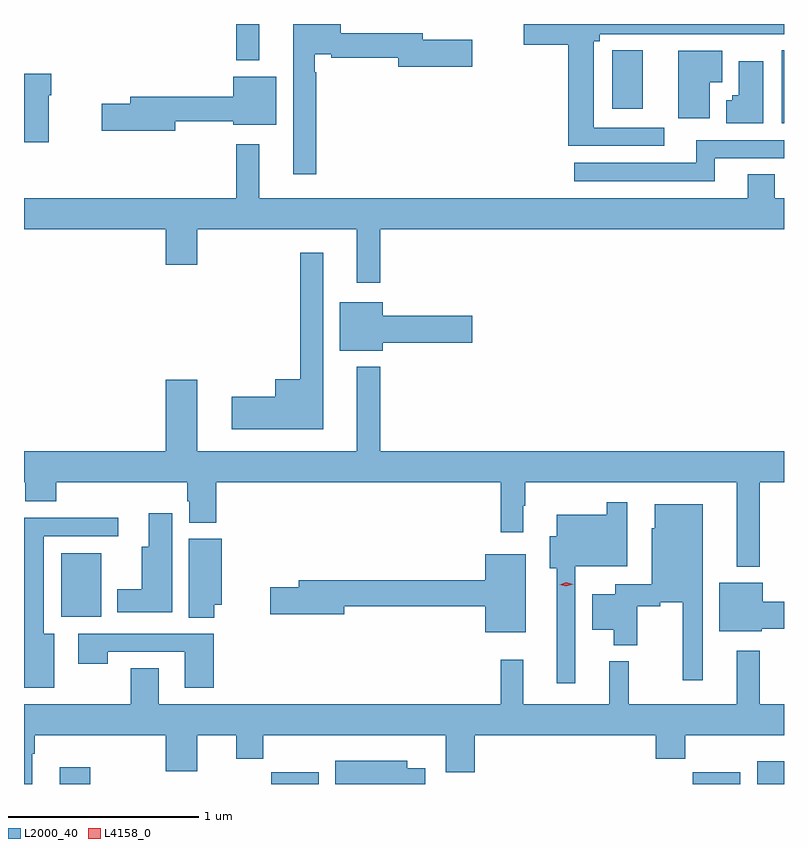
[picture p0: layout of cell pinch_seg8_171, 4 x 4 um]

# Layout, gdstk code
import gdstk
lib = gdstk.Library(unit=1e-6, precision=1e-09)
def R(c, l, rs):  # rectangles x0, y0, x1, y1
    for r in rs: c.add(gdstk.rectangle(r[:2], r[2:], *l))
def P(c, l, *ps):  # polygons
    for p in ps: c.add(gdstk.Polygon(p, *l))
L2000_40 = (2000, 40)
L4158_0 = (4158, 0)

pinch_seg8_171 = lib.new_cell('pinch_seg8_171')
R(pinch_seg8_171, L2000_40, [(667.946,1144.216,668.105,1144.303), (669.058,1144.216,669.307,1144.278), (671.278,1144.216,671.527,1144.278), (671.615,1144.216,671.757,1144.336), (667.952,1145.096,668.164,1145.431), (671.744,1147.694,671.757,1148.078), (670.853,1147.77,671.014,1148.078), (668.874,1148.024,668.995,1148.216)])
P(pinch_seg8_171, L2000_40, [(671.128,1147.671),(670.756,1147.671),(670.756,1148.124),(670.786,1148.124),(670.786,1148.163),(671.757,1148.163),(671.757,1148.216),(670.386,1148.216),(670.386,1148.108),(670.622,1148.108),(670.622,1147.575),(671.128,1147.575)],
  [(669.295,1147.961),(669.287,1147.961),(669.287,1148.058),(669.373,1148.058),(669.373,1148.038),(669.728,1148.038),(669.728,1147.991),(670.117,1147.991),(670.117,1148.133),(669.856,1148.133),(669.856,1148.167),(669.424,1148.167),(669.424,1148.216),(669.173,1148.216),(669.173,1147.425),(669.295,1147.425)],
  [(671.365,1147.909),(671.431,1147.909),(671.431,1148.074),(671.201,1148.074),(671.201,1147.719),(671.365,1147.719)],
  [(671.647,1148.02),(671.519,1148.02),(671.519,1147.842),(671.484,1147.842),(671.484,1147.814),(671.453,1147.814),(671.453,1147.694),(671.647,1147.694)],
  [(667.888,1147.841),(667.901,1147.841),(667.901,1147.954),(667.757,1147.954),(667.757,1147.594),(667.888,1147.594)],
  [(668.554,1147.704),(668.858,1147.704),(668.858,1147.685),(669.085,1147.685),(669.085,1147.939),(668.858,1147.939),(668.858,1147.832),(668.315,1147.832),(668.315,1147.796),(668.166,1147.796),(668.166,1147.654),(668.554,1147.654)],
  [(671.392,1147.509),(671.757,1147.509),(671.757,1147.605),(671.294,1147.605),(671.294,1147.485),(670.653,1147.485),(670.653,1147.389),(671.392,1147.389)],
  [(669.631,1147.136),(671.757,1147.136),(671.757,1147.3),(671.707,1147.3),(671.707,1147.424),(671.567,1147.424),(671.567,1147.3),(668.995,1147.3),(668.995,1147.582),(668.874,1147.582),(668.874,1147.3),(667.757,1147.3),(667.757,1147.136),(668.504,1147.136),(668.504,1146.948),(668.668,1146.948),(668.668,1147.136),(669.509,1147.136),(669.509,1146.855),(669.631,1146.855)],
  [(669.331,1147.012),(669.21,1147.012),(669.21,1146.346),(669.08,1146.346),(669.08,1146.254),(668.85,1146.254),(668.85,1146.083),(669.331,1146.083)],
  [(669.646,1146.539),(670.117,1146.539),(670.117,1146.681),(669.646,1146.681),(669.646,1146.751),(669.419,1146.751),(669.419,1146.497),(669.646,1146.497)],
  [(671.629,1145.804),(671.757,1145.804),(671.757,1145.968),(669.631,1145.968),(669.631,1146.412),(669.509,1146.412),(669.509,1145.968),(668.668,1145.968),(668.668,1146.343),(668.504,1146.343),(668.504,1145.968),(667.757,1145.968),(667.757,1145.804),(667.763,1145.804),(667.763,1145.705),(667.928,1145.705),(667.928,1145.804),(668.615,1145.804),(668.615,1145.703),(668.627,1145.703),(668.627,1145.591),(668.768,1145.591),(668.768,1145.804),(670.267,1145.804),(670.267,1145.541),(670.384,1145.541),(670.384,1145.681),(670.396,1145.681),(670.396,1145.804),(671.507,1145.804),(671.507,1145.36),(671.629,1145.36)],
  [(670.659,1145.363),(670.932,1145.363),(670.932,1145.698),(670.824,1145.698),(670.824,1145.632),(670.562,1145.632),(670.562,1145.521),(670.523,1145.521),(670.523,1145.351),(670.562,1145.351),(670.562,1144.746),(670.659,1144.746)],
  [(671.329,1145.689),(671.078,1145.689),(671.078,1145.562),(671.06,1145.562),(671.06,1145.268),(670.868,1145.268),(670.868,1145.215),(670.748,1145.215),(670.748,1145.027),(670.862,1145.027),(670.862,1144.946),(670.984,1144.946),(670.984,1145.152),(671.105,1145.152),(671.105,1145.172),(671.225,1145.172),(671.225,1144.761),(671.329,1144.761)],
  [(668.536,1145.641),(668.414,1145.641),(668.414,1145.464),(668.378,1145.464),(668.378,1145.242),(668.249,1145.242),(668.249,1145.12),(668.536,1145.12)],
  [(667.915,1145.008),(667.861,1145.008),(667.861,1145.52),(668.254,1145.52),(668.254,1145.618),(667.757,1145.618),(667.757,1144.722),(667.915,1144.722)],
  [(668.758,1145.159),(668.797,1145.159),(668.797,1145.506),(668.624,1145.506),(668.624,1145.092),(668.758,1145.092)],
  [(670.399,1145.425),(670.184,1145.425),(670.184,1145.288),(669.203,1145.288),(669.203,1145.252),(669.054,1145.252),(669.054,1145.11),(669.442,1145.11),(669.442,1145.152),(670.184,1145.152),(670.184,1145.015),(670.399,1145.015)],
  [(671.64,1145.032),(671.757,1145.032),(671.757,1145.174),(671.644,1145.174),(671.644,1145.275),(671.417,1145.275),(671.417,1145.021),(671.64,1145.021)],
  [(668.756,1145.007),(668.043,1145.007),(668.043,1144.848),(668.199,1144.848),(668.199,1144.911),(668.603,1144.911),(668.603,1144.722),(668.756,1144.722)],
  [(667.801,1144.376),(667.814,1144.376),(667.814,1144.472),(668.504,1144.472),(668.504,1144.284),(668.668,1144.284),(668.668,1144.472),(668.873,1144.472),(668.873,1144.348),(669.017,1144.348),(669.017,1144.472),(669.977,1144.472),(669.977,1144.278),(670.13,1144.278),(670.13,1144.472),(671.081,1144.472),(671.081,1144.348),(671.237,1144.348),(671.237,1144.472),(671.757,1144.472),(671.757,1144.636),(671.629,1144.636),(671.629,1144.918),(671.507,1144.918),(671.507,1144.636),(670.94,1144.636),(670.94,1144.861),(670.838,1144.861),(670.838,1144.636),(670.385,1144.636),(670.385,1144.87),(670.267,1144.87),(670.267,1144.636),(668.467,1144.636),(668.467,1144.826),(668.32,1144.826),(668.32,1144.636),(667.757,1144.636),(667.757,1144.216),(667.801,1144.216)],
  [(669.868,1144.3),(669.775,1144.3),(669.775,1144.339),(669.395,1144.339),(669.395,1144.216),(669.868,1144.216)])
P(pinch_seg8_171, L4158_0, [(670.612,1145.257),(670.576,1145.265),(670.576,1145.265),(670.576,1145.266),(670.611,1145.277),(670.647,1145.268),(670.648,1145.268),(670.647,1145.268)])

lib.write_gds('pinch_seg8_171.gds')
